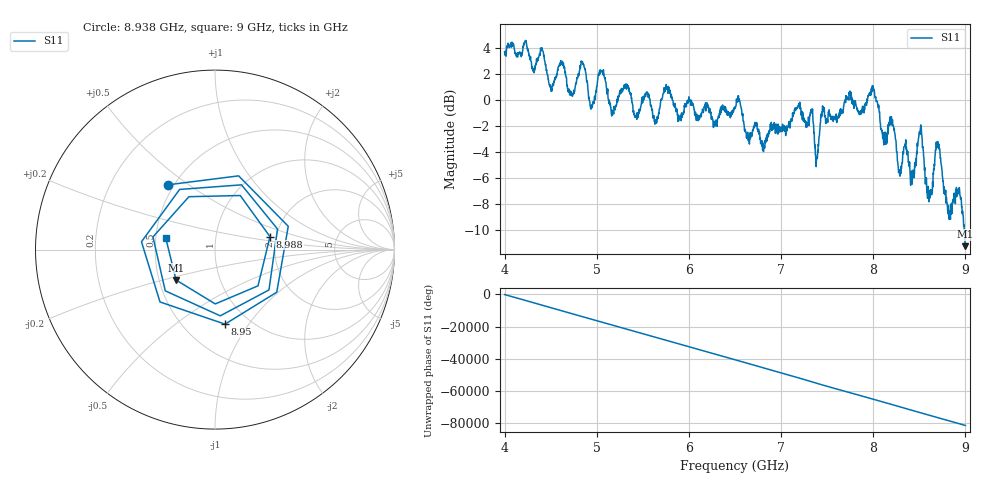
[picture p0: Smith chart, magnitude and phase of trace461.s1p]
! Created with skrf 1.8.0 (http://scikit-rf.org).
# Hz S RI R 50.0
!freq ReS11 ImS11
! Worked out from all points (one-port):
!   1601 points, 4 GHz to 9 GHz, reference 50 ohm
!   lowest |S11| = -11.2 dB at 8.997 GHz (marker M1), VSWR 1.76, Z = 30.6 - j11.2 ohm
!   |S11| at or under -10 dB: 8.987663 GHz to end of sweep
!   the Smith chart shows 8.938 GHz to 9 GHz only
!   S11 on the Smith chart (normalised r, x): 8.938 GHz: 0.47, +0.42; 8.95 GHz: 0.77, -0.78; 8.988 GHz: 1.85, +0.30; 9 GHz: 0.56, +0.08
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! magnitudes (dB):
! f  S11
! 4 GHz  3.7
! 4.625 GHz  3.0
! 4.728 GHz  0.5
! 4.85 GHz  2.7
! 4.944 GHz  -0.4
! 5.047 GHz  2.3
! 5.25 GHz  0.4
! 5.875 GHz  -1.2
! 6.5 GHz  -0.6
! 6.803 GHz  -3.3
! 7.125 GHz  -1.0
! 7.328 GHz  -0.8
! 7.388 GHz  -4.4
! 7.45 GHz  -0.4
! 7.75 GHz  0.4
! 8.003 GHz  0.9
! 8.284 GHz  -5.4
! 8.375 GHz  -4.0
! 8.428 GHz  -5.4
! 8.516 GHz  -1.9
! 8.612 GHz  -7.1
! 8.7 GHz  -3.2
! 8.822 GHz  -8.5
! 8.938 GHz  -7.0
! 8.95 GHz  -7.6
! 8.988 GHz  -10.0
! 8.997 GHz  -11.2
! 9 GHz  -11.0
